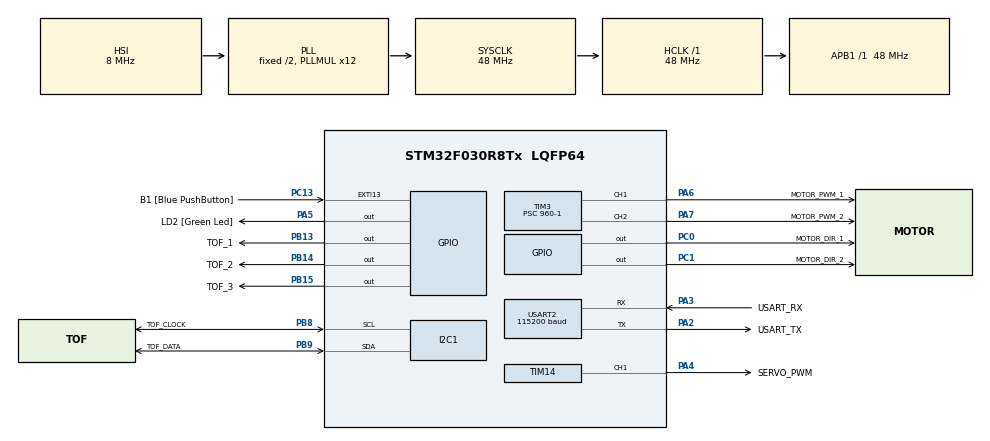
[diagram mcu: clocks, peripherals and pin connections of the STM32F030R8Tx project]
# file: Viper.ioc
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Mcu.Family=STM32F0
Mcu.Name=STM32F030R8Tx
Mcu.Package=LQFP64
PA13.GPIO_Label=TMS
PA13.Mode=Serial_Wire
PA13.Signal=SYS_SWDIO
PA14.GPIO_Label=TCK
PA14.Mode=Serial_Wire
PA14.Signal=SYS_SWCLK
PA2.GPIO_Label=USART_TX
PA2.GPIO_Mode=GPIO_MODE_AF_PP
PA2.GPIO_PuPd=GPIO_NOPULL
PA2.GPIO_Speed=GPIO_SPEED_FREQ_LOW
PA2.Mode=Asynchronous
PA2.Signal=USART2_TX
PA3.GPIO_Label=USART_RX
PA3.GPIO_Mode=GPIO_MODE_AF_PP
PA3.GPIO_PuPd=GPIO_NOPULL
PA3.GPIO_Speed=GPIO_SPEED_FREQ_LOW
PA3.Mode=Asynchronous
PA3.Signal=USART2_RX
PA4.GPIO_Label=SERVO_PWM
PA4.Signal=S_TIM14_CH1
PA5.GPIO_Label=LD2 [Green Led]
PA5.GPIO_Mode=GPIO_MODE_OUTPUT_PP
PA5.GPIO_PuPd=GPIO_NOPULL
PA5.GPIO_Speed=GPIO_SPEED_FREQ_LOW
PA5.Signal=GPIO_Output
PA6.GPIO_Label=MOTOR_PWM_1
PA6.Signal=S_TIM3_CH1
PA7.GPIO_Label=MOTOR_PWM_2
PA7.Signal=S_TIM3_CH2
PB13.GPIO_Label=TOF_1
PB13.Signal=GPIO_Output
PB14.GPIO_Label=TOF_2
PB14.Signal=GPIO_Output
PB15.GPIO_Label=TOF_3
PB15.Signal=GPIO_Output
PB8.GPIO_Label=TOF_CLOCK
PB8.Mode=I2C
PB8.Signal=I2C1_SCL
PB9.GPIO_Label=TOF_DATA
PB9.Mode=I2C
PB9.Signal=I2C1_SDA
PC0.GPIO_Label=MOTOR_DIR_1
PC0.Signal=GPIO_Output
PC1.GPIO_Label=MOTOR_DIR_2
PC1.Signal=GPIO_Output
PC13.GPIO_Label=B1 [Blue PushButton]
PC13.GPIO_ModeDefaultEXTI=GPIO_MODE_IT_FALLING
PC13.Signal=GPXTI13
PC14-OSC32_IN.Mode=LSE-External-Oscillator
PC14-OSC32_IN.Signal=RCC_OSC32_IN
PC15-OSC32_OUT.Mode=LSE-External-Oscillator
PC15-OSC32_OUT.Signal=RCC_OSC32_OUT
PF0-OSC_IN.Mode=HSE-External-Clock-Source
PF0-OSC_IN.Signal=RCC_OSC_IN
PF1-OSC_OUT.Signal=RCC_OSC_OUT
ProjectManager.HeapSize=0x200
ProjectManager.StackSize=0x400
ProjectManager.TargetToolchain=STM32CubeIDE
RCC.AHBFreq_Value=48000000
RCC.APB1Freq_Value=48000000
RCC.APB1TimFreq_Value=48000000
RCC.HCLKFreq_Value=48000000
RCC.PLLMUL=RCC_PLL_MUL12
RCC.SYSCLKFreq_VALUE=48000000
RCC.SYSCLKSource=RCC_SYSCLKSOURCE_PLLCLK
SH.S_TIM14_CH1.0=TIM14_CH1,PWM Generation1 CH1
SH.S_TIM3_CH1.0=TIM3_CH1,PWM Generation1 CH1
SH.S_TIM3_CH2.0=TIM3_CH2,PWM Generation2 CH2
TIM14.AutoReloadPreload=TIM_AUTORELOAD_PRELOAD_ENABLE
TIM14.Channel=TIM_CHANNEL_1
TIM14.Period=20000-1
TIM14.Prescaler=48-1
TIM3.AutoReloadPreload=TIM_AUTORELOAD_PRELOAD_ENABLE
TIM3.Channel-PWM\ Generation1\ CH1=TIM_CHANNEL_1
TIM3.Channel-PWM\ Generation2\ CH2=TIM_CHANNEL_2
TIM3.Period=1000-1
TIM3.Prescaler=960-1
USART2.BaudRate=115200
USART2.VirtualMode-Asynchronous=VM_ASYNC
VP_TIM14_VS_ClockSourceINT.Mode=Enable_Timer
board=NUCLEO-F030R8

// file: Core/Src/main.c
/* USER CODE BEGIN Header */
/**
  ******************************************************************************
  * @file           : main.c
  * @brief          : Main program body
  ******************************************************************************
  * @attention
  *
  * Copyright (c) 2022 STMicroelectronics.
  * All rights reserved.
  *
  * This software is licensed under terms that can be found in the LICENSE file
  * in the root directory of this software component.
  * If no LICENSE file comes with this software, it is provided AS-IS.
  *
  ******************************************************************************
  */
/* USER CODE END Header */
#include "main.h"
#include "i2c.h"
#include "tim.h"
#include "usart.h"
#include "gpio.h"

/* USER CODE BEGIN Includes */
#include "VL53L1X.h"
#include "stdio.h"
#include "stdio.h"
#include "string.h"

/* USER CODE END Includes */

void SystemClock_Config(void);

/* USER CODE BEGIN 0 */

/* GLOBAL VARIABLES */
VL53L1X sensor1;
VL53L1X sensor2;
VL53L1X sensor3;

// Car states
enum State {
	DRIVE = 1,
	REVERSE = 0
};

// Constants
int SERVO_MIN_VALUE = 1225;
int SERVO_MID_VALUE = 1450;
int SERVO_MAX_VALUE = 1675;

int MAX_TURN_ANGLE = 45;
// how to set servo position: __HAL_TIM_SET_COMPARE(&htim14, TIM_CHANNEL_1, 1220);

char distanceStr1[200] = "wasd";
char distanceStr2[200] = "wasd";
char distanceStr3[200] = "wasd";
uint16_t dist1 = 0;
uint16_t dist2 = 0;
uint16_t dist3 = 0;

// motors speed (max 1000)
// 400 ja 550 voi 500 ja 800 voi 700 ja 1000?
int left_speed = 700;
int right_speed = 1000;
int targetSpeed = 400;

// 1 -  forward | 0 - backwards
int left_dir = 1;
int right_dir = 1;

// servo angle
int servo = 1450;
int servoTarget = 1450;

int MODE = 2;

void init() {
	// Motor PWM signals
	HAL_TIM_Base_Start(&htim3);
	HAL_TIM_PWM_Start(&htim3, TIM_CHANNEL_1);
	HAL_TIM_PWM_Start(&htim3, TIM_CHANNEL_2);
	// Servo PWM Signal
	HAL_TIM_Base_Start(&htim14);
	HAL_TIM_PWM_Start(&htim14, TIM_CHANNEL_1);

	TOF_InitStruct(&sensor1, &hi2c1, 0x32, TOF_1_GPIO_Port, TOF_1_Pin);
	TOF_InitStruct(&sensor2, &hi2c1, 0x33, TOF_2_GPIO_Port, TOF_2_Pin);
	TOF_InitStruct(&sensor3, &hi2c1, 0x34, TOF_3_GPIO_Port, TOF_3_Pin);

	TOF_TurnOff(&sensor1);
	TOF_TurnOff(&sensor2);
	TOF_TurnOff(&sensor3);

	TOF_BootSensor(&sensor1);
	TOF_BootSensor(&sensor2);
	TOF_BootSensor(&sensor3);

	if (MODE == 0) {
		left_speed = 400;
		right_speed = 550;
	} else if (MODE == 1) {
		left_speed = 500;
		right_speed = 800;
	} else if (MODE == 2) {
		left_speed = 700;
		right_speed = 1000;
	}
}

void correct() {
	if (servo > SERVO_MAX_VALUE) {
		servo = SERVO_MAX_VALUE;
	}

	if (servo < SERVO_MIN_VALUE) {
		servo = SERVO_MIN_VALUE;
	}

	if (left_speed > 1000) {
		left_speed = 1000;
	}

	if (right_speed > 1000) {
		right_speed = 1000;
	}

}

int servo_min_dist = 110;
int servo_mid_dist = 150;
int servo_max_dist = 200;

int sensDiff = 0;
int sensDir = 0;

double findTurnMagnitude(int sensorDiffMilliMeters) {
    double sensorDiff = sensorDiffMilliMeters / 10;
    sensDiff = sensorDiff;
    double upper = (sensorDiff - 50);
    upper = upper * upper * upper;
    double lower = 4000;
    double add = 28;
    return upper / lower + add;
}

void setServoTurnLeft(double turnAngle) {
	if (MODE == 1) {
		turnAngle *= 1.3;
	} else if (MODE == 2) {
		turnAngle *= 1.5;
	}
    int turnRange = SERVO_MID_VALUE - SERVO_MIN_VALUE;
    double servoDiff = turnAngle / MAX_TURN_ANGLE * turnRange;
    servoTarget = SERVO_MID_VALUE - (int) servoDiff;
}

void setServoTurnRight(double turnAngle) {
    int turnRange = SERVO_MAX_VALUE - SERVO_MID_VALUE;
    double servoDiff = turnAngle / MAX_TURN_ANGLE * turnRange;
    servoTarget = SERVO_MID_VALUE + (int) servoDiff;
}

void findServoTarget() {
    int sensorDiff = dist1 - dist3;
    int turnDirection = sensorDiff < 0 ? 1 : -1;
    sensDir = turnDirection;
    sensorDiff = sensorDiff < 0 ? -sensorDiff : sensorDiff;
    double turnAngle = findTurnMagnitude(sensorDiff);
    turnAngle = turnAngle < 0 ? 0 : turnAngle;
    turnAngle = turnAngle > MAX_TURN_ANGLE ? MAX_TURN_ANGLE : turnAngle;
    if (turnDirection < 0) setServoTurnLeft(turnAngle);
    else setServoTurnRight(turnAngle);
}

//void findTargetSpeed() {
//	int avgDist = (dist1 + dist2 + dist3) / 3;
//	targetSpeed = avgDist * avgDist / 2000 + 400;
//	if (targetSpeed > 1000) targetSpeed = 1000;
//}

int ADJUSTMENT_LIMIT = 150;
int MID_CRASH_LIMIT = 120;
int SIDE_CRASH_LIMIT = 50;
int speedAdjustment = 10;
int reverseCounter = 0;

void driveSmoothServo() {
	findServoTarget();
//	findTargetSpeed();

	left_dir = DRIVE;
	right_dir = DRIVE;
	if (dist2 < MID_CRASH_LIMIT || dist1 < SIDE_CRASH_LIMIT || dist3 < SIDE_CRASH_LIMIT) {
		reverseCounter = 200;
	}
	if (reverseCounter > 0) {
		reverseCounter--;
		servoTarget = SERVO_MID_VALUE;
		left_dir = REVERSE;
		right_dir = REVERSE;
	}

	int servoAdjustment = 3;
	if (dist1 < ADJUSTMENT_LIMIT || dist3 < ADJUSTMENT_LIMIT) servoAdjustment = 10;
	if (servo < servoTarget) servo += servoAdjustment;
	else servo -= servoAdjustment;
//	servo = servoTarget;

	// Adjust speed
//	if (left_speed < targetSpeed) {
//		left_speed += speedAdjustment;
//		right_speed = left_speed;
//	} else {
//		left_speed -= speedAdjustment;
//		right_speed = left_speed;
//	}
}

int MAX_SENSOR_DISTANCE = 1000;
int SENSOR_ADJUSTMENT = 20;
int rawDist1 = 200;
int rawDist2 = 200;
int rawDist3 = 200;

void sense() {
	//TOF kuulamine
	rawDist1 = TOF_GetDistance(&sensor1);
	rawDist2 = TOF_GetDistance(&sensor2);
	rawDist3 = TOF_GetDistance(&sensor3);

	// Smoothing
//	if (rawDist1 < dist1) dist1 -= SENSOR_ADJUSTMENT;
//	else dist1 += SENSOR_ADJUSTMENT;
//	if (rawDist2 < dist2) dist2 -= SENSOR_ADJUSTMENT;
//	else dist2 += SENSOR_ADJUSTMENT;
//	if (rawDist3 < dist3) dist3 -= SENSOR_ADJUSTMENT;
//	else dist3 += SENSOR_ADJUSTMENT;

	if (MODE == 2) {
		dist1 = rawDist1;
		dist2 = rawDist2;
		dist3 = rawDist3;
	} else {
		if (rawDist1 < dist1) dist1 = rawDist1;
		else dist1 += SENSOR_ADJUSTMENT;
		if (rawDist2 < dist2) dist2 = rawDist2;
		else dist2 += SENSOR_ADJUSTMENT;
		if (rawDist3 < dist3) dist3 = rawDist3;
		else dist3 += SENSOR_ADJUSTMENT;
	}

	if (dist1 > MAX_SENSOR_DISTANCE) dist1 = MAX_SENSOR_DISTANCE;
	if (dist2 > MAX_SENSOR_DISTANCE) dist2 = MAX_SENSOR_DISTANCE;
	if (dist3 > MAX_SENSOR_DISTANCE) dist3 = MAX_SENSOR_DISTANCE;
}

void plan() {
	//drive_by_motor_speed();
//	drive_by_servo();
	driveSmoothServo();

}

void act() {
	correct();

//	sprintf(distanceStr1, "L:%d       M:%d       R:%d \n\r", dist1, dist2, dist3);
	sprintf(distanceStr1, "Diff:%d       Dir:%d       Target:%d \n\r", sensDiff, sensDir, servoTarget);
	//sprintf(distanceStr2, "Distance 2: %d\n\r", dist2);
	//sprintf(distanceStr3, "Distance 3: %d\n\r", dist3);

	HAL_UART_Transmit(&huart2, (uint8_t*)distanceStr1, strlen(distanceStr1), 100);
	//HAL_UART_Transmit(&huart2, (uint8_t*)distanceStr2, strlen(distanceStr2), 100);
	//HAL_UART_Transmit(&huart2, (uint8_t*)distanceStr3, strlen(distanceStr3), 100);

	//set left motor direction and speed
	__HAL_TIM_SET_COMPARE(&htim3, TIM_CHANNEL_1, left_speed);
	HAL_GPIO_WritePin(MOTOR_DIR_1_GPIO_Port, MOTOR_DIR_1_Pin, left_dir);

	//set right motor direction and speed
	__HAL_TIM_SET_COMPARE(&htim3, TIM_CHANNEL_2, right_speed);
	HAL_GPIO_WritePin(MOTOR_DIR_2_GPIO_Port, MOTOR_DIR_2_Pin, right_dir);

	//set servo angle
	__HAL_TIM_SET_COMPARE(&htim14, TIM_CHANNEL_1, servo);
}
/* USER CODE END 0 */

int main(void)
{

  /* MCU Configuration--------------------------------------------------------*/

  /* Reset of all peripherals, Initializes the Flash interface and the Systick. */
  HAL_Init();

  /* Configure the system clock */
  SystemClock_Config();

  /* Initialize all configured peripherals */
  MX_GPIO_Init();
  MX_USART2_UART_Init();
  MX_I2C1_Init();
  MX_TIM3_Init();
  MX_TIM14_Init();
  /* USER CODE BEGIN 2 */
  init();

  /* USER CODE END 2 */

  /* Infinite loop */
  /* USER CODE BEGIN WHILE */
  while (1)
  {
	  sense();
	  plan();
	  //left_dir = 1;
	  //right_dir = 1;
	  //left_speed = 400;
	  //right_speed = 400;
	  act();

	  //HAL_Delay(1000);
    /* USER CODE END WHILE */

  }
}

void SystemClock_Config(void)
{
  RCC_OscInitTypeDef RCC_OscInitStruct = {0};
  RCC_ClkInitTypeDef RCC_ClkInitStruct = {0};
  RCC_PeriphCLKInitTypeDef PeriphClkInit = {0};

  /** Initializes the RCC Oscillators according to the specified parameters
  * in the RCC_OscInitTypeDef structure.
  */
  RCC_OscInitStruct.OscillatorType = RCC_OSCILLATORTYPE_HSI;
  RCC_OscInitStruct.HSIState = RCC_HSI_ON;
  RCC_OscInitStruct.HSICalibrationValue = RCC_HSICALIBRATION_DEFAULT;
  RCC_OscInitStruct.PLL.PLLState = RCC_PLL_ON;
  RCC_OscInitStruct.PLL.PLLSource = RCC_PLLSOURCE_HSI;
  RCC_OscInitStruct.PLL.PLLMUL = RCC_PLL_MUL12;
  RCC_OscInitStruct.PLL.PREDIV = RCC_PREDIV_DIV1;
  if (HAL_RCC_OscConfig(&RCC_OscInitStruct) != HAL_OK)
  {
    Error_Handler();
  }

  /** Initializes the CPU, AHB and APB buses clocks
  */
  RCC_ClkInitStruct.ClockType = RCC_CLOCKTYPE_HCLK|RCC_CLOCKTYPE_SYSCLK
                              |RCC_CLOCKTYPE_PCLK1;
  RCC_ClkInitStruct.SYSCLKSource = RCC_SYSCLKSOURCE_PLLCLK;
  RCC_ClkInitStruct.AHBCLKDivider = RCC_SYSCLK_DIV1;
  RCC_ClkInitStruct.APB1CLKDivider = RCC_HCLK_DIV1;

  if (HAL_RCC_ClockConfig(&RCC_ClkInitStruct, FLASH_LATENCY_1) != HAL_OK)
  {
    Error_Handler();
  }
  PeriphClkInit.PeriphClockSelection = RCC_PERIPHCLK_I2C1;
  PeriphClkInit.I2c1ClockSelection = RCC_I2C1CLKSOURCE_HSI;
  if (HAL_RCCEx_PeriphCLKConfig(&PeriphClkInit) != HAL_OK)
  {
    Error_Handler();
  }
}

void Error_Handler(void)
{
  __disable_irq();
  while (1)
  {
  }
}
